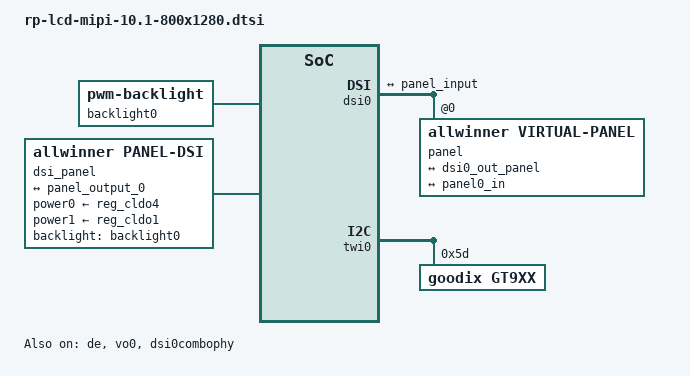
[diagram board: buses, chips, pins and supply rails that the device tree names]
/{
    backlight0: backlight@0 {
        compatible = "pwm-backlight";
        status = "okay";
        brightness-levels = <
              0   1   2   3   4   5   6   7
              8   9  10  11  12  13  14  15
             16  17  18  19  20  21  22  23
             24  25  26  27  28  29  30  31
             32  33  34  35  36  37  38  39
             40  41  42  43  44  45  46  47
             48  49  50  51  52  53  54  55
             56  57  58  59  60  61  62  63
             64  65  66  67  68  69  70  71
             72  73  74  75  76  77  78  79
             80  81  82  83  84  85  86  87
             88  89  90  91  92  93  94  95
             96  97  98  99 100 101 102 103
            104 105 106 107 108 109 110 111
            112 113 114 115 116 117 118 119
            120 121 122 123 124 125 126 127
            128 129 130 131 132 133 134 135
            136 137 138 139 140 141 142 143
            144 145 146 147 148 149 150 151
            152 153 154 155 156 157 158 159
            160 161 162 163 164 165 166 167
            168 169 170 171 172 173 174 175
            176 177 178 179 180 181 182 183
            184 185 186 187 188 189 190 191
            192 193 194 195 196 197 198 199
            200 201 202 203 204 205 206 207
            208 209 210 211 212 213 214 215
            216 217 218 219 220 221 222 223
            224 225 226 227 228 229 230 231
            232 233 234 235 236 237 238 239
            240 241 242 243 244 245 246 247
            248 249 250 251 252 253 254 255>;
        default-brightness-level = <200>;
        // pwms = <&pwm2 0 50000 0>; // config in lcd-gpio-xxx.dtsi
    };

    dsi_panel: dsi_panel@0 {
        compatible = "allwinner,panel-dsi";
        status = "okay";
        reg = <0>;
        power0-supply = <&reg_cldo4>;
        power1-supply = <&reg_cldo1>;

        power-delay-ms = <20>;
        enable-delay-ms = <20>;
        reset-num = <1>;
        reset-delay-ms = <20>;

        backlight = <&backlight0>;
        dsi,flags = <MIPI_DSI_MODE_VIDEO>;
        dsi,lanes = <4>;
        dsi,format = <0>; //MIPI_DSI_FMT_RGB888
        panel-init-sequence = [
            05 32 01 11
            05 05 01 29
        ];

        panel-exit-sequence = [
            05 14 01 28
            05 50 01 10
        ];

        display-timings {
            native-mode = <&dsi0_timing0>;

            dsi0_timing0: timing0 {
                clock-frequency = <92000000>; /* pixel clock */
                hactive      = <800>;
                hback-porch  = <70>;
                hfront-porch = <136>;
                hsync-len    = <10>;

                vactive      = <1280>;
                vback-porch  = <200>;
                vfront-porch = <16>;
                vsync-len    = <10>;
            };
        };
        port {
            panel0_in: endpoint@0 {
                reg = <0>;
                    remote-endpoint = <&panel_output_0>;
            };
        };
    };
};

&lvds0 {
    status = "disabled";
};

&dsi0 {
    status = "okay";
    pinctrl-0 = <&dsi0_4lane_pins_a>;
    pinctrl-1 = <&dsi0_4lane_pins_b>;
    pinctrl-names = "active","sleep";
    ports {
        dsi0_out: port@1{
            dsi0_out_panel: endpoint {
                remote-endpoint = <&panel_input>;
            };
        };
    };
    panel: panel@0 {
        compatible = "allwinner,virtual-panel";
        status = "okay";
        reg = <0>;
        ports {
            panel_in: port@0 {
                reg = <0>;
                panel_input: endpoint@0 {
                    reg = <0>;
                    remote-endpoint = <&dsi0_out_panel>;
                };
            };
            panel_out: port@1 {
                reg = <1>;
                panel_output_0: endpoint@0 {
                    reg = <0>;
                    remote-endpoint = <&panel0_in>;
                };
            };
        };
    };
};

&de {
    chn_cfg_mode = <3>;
    status = "okay";
};

&vo0 {
    status = "okay";
};

&dsi0combophy {
    status = "okay";
};


&twi0 {
    status = "okay";

    gt9xx: gt9xx@5d {
    };
};

&gt9xx {
    compatible = "goodix,gt9xx";
    reg = <0x5d>;
    status = "okay";
    gtp_resolution_x = <800>;
    gtp_resolution_y = <1280>;
    gtp_int_tarigger = <1>;
    gtp_change_x2y = <0>;
    gtp_overturn_x = <0>;
    gtp_overturn_y = <0>;
    gtp_send_cfg = <1>;
    gtp_touch_wakeup = <1>;
    gtp_touch_back = <1>;

    /*
    our gpio pin config in lcd-gpio-xxx.dtsi
    goodix_rst_gpio = <&pio PB 6 GPIO_ACTIVE_HIGH>;
    goodix_irq_gpio = <&pio PB 7 IRQ_TYPE_EDGE_RISING>;
*/

    goodix,cfg-group2 = [
        49 20 03 00 05 0A 35 00 01 06 23 08
        37 2D 03 05 00 00 00 00 00 00 04 17
        19 1D 14 90 30 AA 53 55 0C 08 00 00
        00 01 03 1C 00 00 00 00 00 00 00 00
        00 00 00 3C 78 94 D0 42 00 08 00 04
        8E 40 00 85 4A 00 7F 55 00 7B 61 00
        7A 70 00 7B 00 00 00 00 00 00 00 00
        00 00 00 00 00 00 00 00 00 00 00 00
        00 00 00 00 00 00 00 00 00 00 00 00
        00 00 00 00 19 18 17 16 15 14 11 10
        0F 0E 0D 0C 09 08 07 06 05 04 01 00
        FF FF FF FF FF FF FF FF FF FF 00 02
        04 06 07 08 0A 0C 0D 0E 0F 10 11 12
        13 14 2A 29 28 27 26 25 24 23 22 21
        20 1F 1E 1C 1B 19 FF FF FF FF FF FF
        FF FF FF FF 24 01
    ];
};
